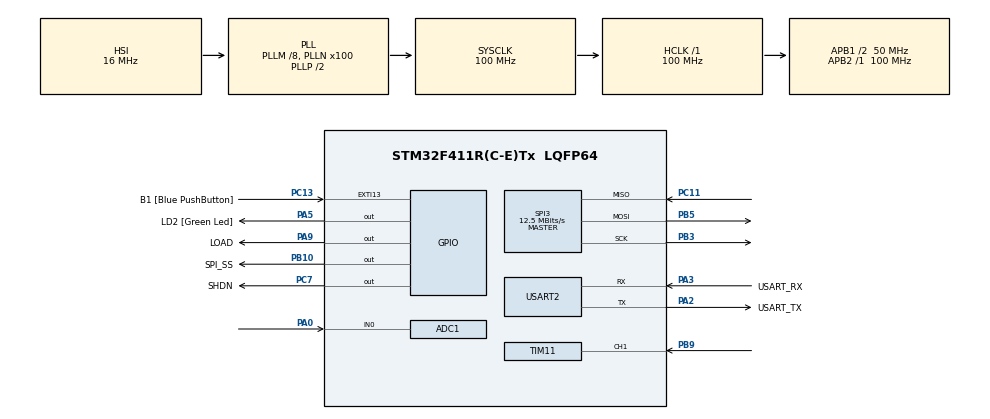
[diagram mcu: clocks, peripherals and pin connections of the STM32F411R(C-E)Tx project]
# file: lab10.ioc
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ADC1.Channel-0\#ChannelRegularConversion=ADC_CHANNEL_0
ADC1.DMAContinuousRequests=ENABLE
ADC1.ExternalTrigConv=ADC_EXTERNALTRIGCONV_T3_TRGO
ADC1.NbrOfConversionFlag=1
ADC1.Rank-0\#ChannelRegularConversion=1
ADC1.SamplingTime-0\#ChannelRegularConversion=ADC_SAMPLETIME_3CYCLES
ADC1.ScanConvMode=ENABLE
ADC1.master=1
Dma.ADC1.0.Direction=DMA_PERIPH_TO_MEMORY
Dma.ADC1.0.FIFOMode=DMA_FIFOMODE_DISABLE
Dma.ADC1.0.Instance=DMA2_Stream0
Dma.ADC1.0.MemDataAlignment=DMA_MDATAALIGN_HALFWORD
Dma.ADC1.0.MemInc=DMA_MINC_ENABLE
Dma.ADC1.0.Mode=DMA_CIRCULAR
Dma.ADC1.0.PeriphDataAlignment=DMA_PDATAALIGN_HALFWORD
Dma.ADC1.0.PeriphInc=DMA_PINC_DISABLE
Dma.ADC1.0.Priority=DMA_PRIORITY_LOW
Dma.Request0=ADC1
Mcu.Family=STM32F4
Mcu.Name=STM32F411R(C-E)Tx
Mcu.Package=LQFP64
NVIC.ADC_IRQn=true\:0\:0\:false\:false\:true\:true\:true
NVIC.DMA2_Stream0_IRQn=true\:0\:0\:false\:false\:true\:false\:true
NVIC.PriorityGroup=NVIC_PRIORITYGROUP_0
NVIC.SPI3_IRQn=true\:0\:0\:false\:false\:true\:true\:true
NVIC.TIM1_TRG_COM_TIM11_IRQn=true\:0\:0\:false\:false\:true\:true\:true
NVIC.USART2_IRQn=true\:0\:0\:false\:false\:true\:true\:true
PA0-WKUP.Signal=ADCx_IN0
PA13.GPIO_Label=TMS
PA13.Mode=Serial_Wire
PA13.Signal=SYS_JTMS-SWDIO
PA14.GPIO_Label=TCK
PA14.Mode=Serial_Wire
PA14.Signal=SYS_JTCK-SWCLK
PA2.GPIO_Label=USART_TX
PA2.Mode=Asynchronous
PA2.Signal=USART2_TX
PA3.GPIO_Label=USART_RX
PA3.Mode=Asynchronous
PA3.Signal=USART2_RX
PA5.GPIO_Label=LD2 [Green Led]
PA5.Signal=GPIO_Output
PA9.GPIO_Label=LOAD
PA9.PinState=GPIO_PIN_SET
PA9.Signal=GPIO_Output
PB10.GPIO_Label=SPI_SS
PB10.PinState=GPIO_PIN_SET
PB10.Signal=GPIO_Output
PB3.Mode=Full_Duplex_Master
PB3.Signal=SPI3_SCK
PB5.Mode=Full_Duplex_Master
PB5.Signal=SPI3_MOSI
PB9.Signal=S_TIM11_CH1
PC11.Mode=Full_Duplex_Master
PC11.Signal=SPI3_MISO
PC13-ANTI_TAMP.GPIO_Label=B1 [Blue PushButton]
PC13-ANTI_TAMP.GPIO_ModeDefaultEXTI=GPIO_MODE_IT_FALLING
PC13-ANTI_TAMP.Signal=GPXTI13
PC14-OSC32_IN.Mode=LSE-External-Oscillator
PC14-OSC32_IN.Signal=RCC_OSC32_IN
PC15-OSC32_OUT.Mode=LSE-External-Oscillator
PC15-OSC32_OUT.Signal=RCC_OSC32_OUT
PC7.GPIO_Label=SHDN
PC7.PinState=GPIO_PIN_SET
PC7.Signal=GPIO_Output
PH0\ -\ OSC_IN.Mode=HSE-External-Clock-Source
PH0\ -\ OSC_IN.Signal=RCC_OSC_IN
PH1\ -\ OSC_OUT.Mode=HSE-External-Clock-Source
PH1\ -\ OSC_OUT.Signal=RCC_OSC_OUT
ProjectManager.HeapSize=0x200
ProjectManager.StackSize=0x400
ProjectManager.TargetToolchain=STM32CubeIDE
RCC.48MHZClocksFreq_Value=50000000
RCC.AHBFreq_Value=100000000
RCC.APB1CLKDivider=RCC_HCLK_DIV2
RCC.APB1Freq_Value=50000000
RCC.APB1TimFreq_Value=100000000
RCC.APB2Freq_Value=100000000
RCC.APB2TimFreq_Value=100000000
RCC.CortexFreq_Value=100000000
RCC.FLatency-AdvancedSettings=FLASH_LATENCY_3
RCC.HCLKFreq_Value=100000000
RCC.HSE_VALUE=8000000
RCC.HSI_VALUE=16000000
RCC.PLLM=8
RCC.PLLN=100
RCC.RCC_RTC_Clock_Source=RCC_RTCCLKSOURCE_LSI
RCC.RCC_RTC_Clock_SourceVirtual=RCC_RTCCLKSOURCE_LSI
RCC.SYSCLKFreq_VALUE=100000000
RCC.SYSCLKSource=RCC_SYSCLKSOURCE_PLLCLK
RCC.VCOOutputFreq_Value=200000000
SH.ADCx_IN0.0=ADC1_IN0,IN0
SH.S_TIM11_CH1.0=TIM11_CH1,Input_Capture1_from_TI1
SPI3.BaudRatePrescaler=SPI_BAUDRATEPRESCALER_4
SPI3.CalculateBaudRate=12.5 MBits/s
SPI3.DataSize=SPI_DATASIZE_16BIT
SPI3.Direction=SPI_DIRECTION_2LINES
SPI3.Mode=SPI_MODE_MASTER
SPI3.VirtualType=VM_MASTER
TIM11.Channel=TIM_CHANNEL_1
TIM11.Prescaler=99
TIM3.Period=100
TIM3.Prescaler=99
TIM3.TIM_MasterOutputTrigger=TIM_TRGO_UPDATE
USART2.VirtualMode=VM_ASYNC
VP_TIM11_VS_ClockSourceINT.Mode=Enable_Timer
VP_TIM3_VS_ClockSourceINT.Mode=Internal
board=NUCLEO-F411RE

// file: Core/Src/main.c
/* USER CODE BEGIN Header */
/**
 ******************************************************************************
 * @file           : main.c
 * @brief          : Main program body
 ******************************************************************************
 * @attention
 *
 * <h2><center>&copy; Copyright (c) 2021 STMicroelectronics.
 * All rights reserved.</center></h2>
 *
 * This software component is licensed by ST under BSD 3-Clause license,
 * the "License"; You may not use this file except in compliance with the
 * License. You may obtain a copy of the License at:
 *                        opensource.org/licenses/BSD-3-Clause
 *
 ******************************************************************************
 */
/* USER CODE END Header */
#include "main.h"

/* USER CODE BEGIN Includes */
#include "math.h"
#include <stdio.h>
#include <string.h>
/* USER CODE END Includes */

ADC_HandleTypeDef hadc1;
DMA_HandleTypeDef hdma_adc1;

SPI_HandleTypeDef hspi3;

TIM_HandleTypeDef htim3;
TIM_HandleTypeDef htim11;

UART_HandleTypeDef huart2;

/* USER CODE BEGIN PV */
uint16_t ADCin = 0;
uint64_t _micro = 0;
float dataOut = 0;
float step=0;
uint64_t ts_square=0;uint64_t ts_saw=0;float high_saw=3.3;float low_saw=0;
float fq=1;float period =0;float m=0;float high=3.3;float low=0;float fq_saw=1;
uint8_t DACConfig = 0b0011;float high_sin=3.3;float low_sin=0;float fq_sin=1;
float y=0;float fq_sq=1;float high_sq=3.3;float low_sq=0;
float x=0;uint64_t ts_sin=0;uint64_t ts_sq=0;
uint8_t dutycycle=50;float t_on=0;float t_off=0;
char TxDataBuffer[32] ={ 0 };
char RxDataBuffer[32] ={ 0 };
uint16_t state=0;uint16_t statesaw=0;uint16_t statesin=0;uint16_t statesq=0;
enum{start=0,menu,waitmenu,on,off,square_menu,waitsquare,saw_menu,waitsaw,sin_menu,waitsin,X1,slopeup,slopedown,sine,square};
/* USER CODE END PV */

void SystemClock_Config(void);
static void MX_GPIO_Init(void);
static void MX_DMA_Init(void);
static void MX_USART2_UART_Init(void);
static void MX_SPI3_Init(void);
static void MX_ADC1_Init(void);
static void MX_TIM3_Init(void);
static void MX_TIM11_Init(void);
/* USER CODE BEGIN PFP */
void MCP4922SetOutput(uint8_t Config, uint16_t DACOutput);
uint64_t micros();
int16_t UARTRecieveIT();
/* USER CODE END PFP */

int main(void)
{

  /* MCU Configuration--------------------------------------------------------*/

  /* Reset of all peripherals, Initializes the Flash interface and the Systick. */
  HAL_Init();

  /* Configure the system clock */
  SystemClock_Config();

  /* Initialize all configured peripherals */
  MX_GPIO_Init();
  MX_DMA_Init();
  MX_USART2_UART_Init();
  MX_SPI3_Init();
  MX_ADC1_Init();
  MX_TIM3_Init();
  MX_TIM11_Init();
  /* USER CODE BEGIN 2 */
	HAL_TIM_Base_Start(&htim3);
	HAL_TIM_Base_Start_IT(&htim11);
	HAL_ADC_Start_DMA(&hadc1, (uint32_t*) &ADCin, 1);

	HAL_GPIO_WritePin(LOAD_GPIO_Port, LOAD_Pin, GPIO_PIN_RESET);

  /* USER CODE END 2 */

  /* Infinite loop */
  /* USER CODE BEGIN WHILE */
	while (1)
	{
		static uint64_t timestamp = 0;

//			if (micros() - timestamp > 100)
//			{timestamp = micros();
//			x+=0.0001;
//			dataOut =  (1.65*(sin(2*3.141592*fq*x)))+1.65;  //sin wave +shift 3.3/0
//          }

//			dutycycle=20;									//square wave
//			period = 1/fq;
//			t_off = dutycycle*period/100;
//			t_on = period-t_off;
//			switch(state)
//			{ 	case 0:
//
//				state = on;
//			break;
//			case on:
//				if(micros()-ts_square>=t_on*1000000)
//							{ dataOut=3.3;
//							ts_square=micros();
//							state = off;}
//			break;
//			case off:
//				if(micros()-ts_square>=t_off*1000000)
//							{   ts_square=micros();
//								dataOut=0;
//							    state = on;}
//			break;
//			}

//			if (micros() - timestamp > 100)
//			{timestamp = micros();
//			period = 1/fq;                    //sawtooth
//			x+=0.0001;
//		    m=(high-low)/period;
//		    if(m*x<=high)
//		    {dataOut=m*x;}
//		    else{dataOut=low;x=0;}
//		    }

//		if (micros() - timestamp > 100)
//		    {timestamp = micros();
//			period=1/fq; 							//invese sawtooth
//			x+=0.0001;
//			m=-1*(high-low)/period;
//            if(dataOut<=low){dataOut=high;x=0;}
//            else{dataOut=high+(m*x);}
//		    }
			HAL_UART_Receive_IT(&huart2,  (uint8_t*)RxDataBuffer, 32);
			int16_t inputchar = UARTRecieveIT();

			switch(state)
			{case start :
			  state = menu;
			break;
			case menu:
			  sprintf(TxDataBuffer,"\r\n WAVE select \r\n 0=sawtooth ");
			  HAL_UART_Transmit(&huart2, (uint8_t*)TxDataBuffer, strlen(TxDataBuffer), 1000);
			  sprintf(TxDataBuffer,"\r\n 1=sine wave \r\n 2=square wave\r\n");
			  HAL_UART_Transmit(&huart2, (uint8_t*)TxDataBuffer, strlen(TxDataBuffer), 1000);
			  state = waitmenu;
			 break;
			case waitmenu:
				if(inputchar!=-1)
				{if(inputchar=='0')
				{state = saw_menu;}
				else if(inputchar=='1')
				 {state = sin_menu;}
				else if(inputchar=='2')
				 {state = square_menu;}
				else if (inputchar!='0'|inputchar!='1'|inputchar!='2' )
				{state =X1;}
				}
			break;
			case X1:
				sprintf(TxDataBuffer,"\r\n error\r\n");
				HAL_UART_Transmit(&huart2, (uint8_t*)TxDataBuffer, strlen(TxDataBuffer), 1000);
				state=waitmenu;
			break;
			case saw_menu:
				sprintf(TxDataBuffer,"\r\n SAWTOOTH \r\n ");HAL_UART_Transmit(&huart2, (uint8_t*)TxDataBuffer, strlen(TxDataBuffer), 1000);
				sprintf(TxDataBuffer,"\r\n a=+0.1hz\r\n s=-0.1hz");HAL_UART_Transmit(&huart2, (uint8_t*)TxDataBuffer, strlen(TxDataBuffer), 1000);
				sprintf(TxDataBuffer,"\r\n d=+0.1V high \r\n f=-0.1V high \r\n");HAL_UART_Transmit(&huart2, (uint8_t*)TxDataBuffer, strlen(TxDataBuffer), 1000);
				sprintf(TxDataBuffer,"\r\n q=+0.1V low \r\n w=-0.1V low \r\n");HAL_UART_Transmit(&huart2, (uint8_t*)TxDataBuffer, strlen(TxDataBuffer), 1000);
				sprintf(TxDataBuffer,"\r\n e=slope up \r\n r=slope down \r\n");HAL_UART_Transmit(&huart2, (uint8_t*)TxDataBuffer, strlen(TxDataBuffer), 1000);
				sprintf(TxDataBuffer,"\r\n x=back \r\n");HAL_UART_Transmit(&huart2, (uint8_t*)TxDataBuffer, strlen(TxDataBuffer), 1000);
				state=waitsaw;
			break;
			case waitsaw:
				if(inputchar!=-1)
				{if(inputchar=='a')
				 {fq_saw+=0.1;sprintf(TxDataBuffer,"\r\n frequency = [%f]\r\n",fq_saw);HAL_UART_Transmit(&huart2, (uint8_t*)TxDataBuffer, strlen(TxDataBuffer), 1000);}
				else if(inputchar=='s')
				 {fq_saw-=0.1;sprintf(TxDataBuffer,"\r\n frequency = [%f]\r\n",fq_saw);HAL_UART_Transmit(&huart2, (uint8_t*)TxDataBuffer, strlen(TxDataBuffer), 1000);}
				else if(inputchar=='d')
				 {high_saw+=0.1;sprintf(TxDataBuffer,"\r\n Vhigh = [%f]\r\n",high_saw);HAL_UART_Transmit(&huart2, (uint8_t*)TxDataBuffer, strlen(TxDataBuffer), 1000);}
				else if (inputchar=='f')
				{high_saw-=0.1;sprintf(TxDataBuffer,"\r\n Vhigh = [%f]\r\n",high_saw);HAL_UART_Transmit(&huart2, (uint8_t*)TxDataBuffer, strlen(TxDataBuffer), 1000);}
				else if(inputchar=='q')
			    {low_saw+=0.1;sprintf(TxDataBuffer,"\r\n Vlow = [%f]\r\n",low_saw);HAL_UART_Transmit(&huart2, (uint8_t*)TxDataBuffer, strlen(TxDataBuffer), 1000);}
				else if(inputchar=='w')
				{low_saw-=0.1;sprintf(TxDataBuffer,"\r\n Vlow = [%f]\r\n",low_saw);HAL_UART_Transmit(&huart2, (uint8_t*)TxDataBuffer, strlen(TxDataBuffer), 1000);}
				else if(inputchar=='e')
				{   statesin=0;statesq=0;statesaw=slopeup;}
				else if(inputchar=='r')
				{statesin=0;statesq=0;statesaw=slopedown;}
				else if(inputchar=='x')
				{state=menu;}
				}
			break;
			case sin_menu:
				sprintf(TxDataBuffer,"\r\n SINE WAVE \r\n ");
				HAL_UART_Transmit(&huart2, (uint8_t*)TxDataBuffer, strlen(TxDataBuffer), 1000);
				sprintf(TxDataBuffer,"\r\n a=+0.1hz\r\n s=-0.1hz");HAL_UART_Transmit(&huart2, (uint8_t*)TxDataBuffer, strlen(TxDataBuffer), 1000);
				sprintf(TxDataBuffer,"\r\n d=+0.1V high \r\n f=-0.1V high \r\n");HAL_UART_Transmit(&huart2, (uint8_t*)TxDataBuffer, strlen(TxDataBuffer), 1000);
				sprintf(TxDataBuffer,"\r\n q=+0.1V low \r\n w=-0.1V low \r\n");HAL_UART_Transmit(&huart2, (uint8_t*)TxDataBuffer, strlen(TxDataBuffer), 1000);
				sprintf(TxDataBuffer,"\r\n x=back \r\n e=run \r\n");HAL_UART_Transmit(&huart2, (uint8_t*)TxDataBuffer, strlen(TxDataBuffer), 1000);
				state=waitsin;

			break;
			case waitsin:
				if(inputchar!=-1)
				{if(inputchar=='a')
				 {fq_sin+=0.1;sprintf(TxDataBuffer,"\r\n frequency = [%f]\r\n",fq_sin);HAL_UART_Transmit(&huart2, (uint8_t*)TxDataBuffer, strlen(TxDataBuffer), 1000);}
				else if(inputchar=='s')
				 {fq_sin-=0.1;sprintf(TxDataBuffer,"\r\n frequency = [%f]\r\n",fq_sin);HAL_UART_Transmit(&huart2, (uint8_t*)TxDataBuffer, strlen(TxDataBuffer), 1000);}
				else if(inputchar=='d')
				 {high_sin+=0.1;sprintf(TxDataBuffer,"\r\n Vhigh = [%f]\r\n",high_sin);HAL_UART_Transmit(&huart2, (uint8_t*)TxDataBuffer, strlen(TxDataBuffer), 1000);}
				else if (inputchar=='f')
				{high_sin-=0.1;sprintf(TxDataBuffer,"\r\n Vhigh = [%f]\r\n",high_sin);HAL_UART_Transmit(&huart2, (uint8_t*)TxDataBuffer, strlen(TxDataBuffer), 1000);}
				else if(inputchar=='q')
				{low_sin+=0.1;sprintf(TxDataBuffer,"\r\n Vlow = [%f]\r\n",low_sin);HAL_UART_Transmit(&huart2, (uint8_t*)TxDataBuffer, strlen(TxDataBuffer), 1000);}
				else if(inputchar=='w')
				{low_sin-=0.1;sprintf(TxDataBuffer,"\r\n Vlow = [%f]\r\n",low_sin);HAL_UART_Transmit(&huart2, (uint8_t*)TxDataBuffer, strlen(TxDataBuffer), 1000);}
				else if(inputchar=='e')
				{statesq=0;statesaw=0;
					statesin=sine;}
				else if(inputchar=='x')
				{state=menu;}
				}

			break;
			case square_menu:
				sprintf(TxDataBuffer,"\r\n SQUARE WAVE \r\n ");
				HAL_UART_Transmit(&huart2, (uint8_t*)TxDataBuffer, strlen(TxDataBuffer), 1000);
				sprintf(TxDataBuffer,"\r\n a=+0.1hz\r\n s=-0.1hz");HAL_UART_Transmit(&huart2, (uint8_t*)TxDataBuffer, strlen(TxDataBuffer), 1000);
				sprintf(TxDataBuffer,"\r\n d=+0.1V high \r\n f=-0.1Vhigh \r\n");HAL_UART_Transmit(&huart2, (uint8_t*)TxDataBuffer, strlen(TxDataBuffer), 1000);
				sprintf(TxDataBuffer,"\r\n q=+0.1V low \r\n w=-0.1Vlow \r\n");HAL_UART_Transmit(&huart2, (uint8_t*)TxDataBuffer, strlen(TxDataBuffer), 1000);
				sprintf(TxDataBuffer,"\r\n x=back \r\n e=run \r\n");HAL_UART_Transmit(&huart2, (uint8_t*)TxDataBuffer, strlen(TxDataBuffer), 1000);
				sprintf(TxDataBuffer,"\r\n t=+1%% dutycycle \r\n y=-1%% dutycycle \r\n");HAL_UART_Transmit(&huart2, (uint8_t*)TxDataBuffer, strlen(TxDataBuffer), 1000);
				state=waitsquare;

			break;
			case waitsquare:
				if(inputchar!=-1)
				{if(inputchar=='a')
				 {fq_sq+=0.1;sprintf(TxDataBuffer,"\r\n frequency = [%f]\r\n",(float)fq_sq);HAL_UART_Transmit(&huart2, (uint8_t*)TxDataBuffer, strlen(TxDataBuffer), 1000);}
				else if(inputchar=='s')
				 {fq_sq-=0.1;sprintf(TxDataBuffer,"\r\n frequency = [%f]\r\n",(float)fq_sq);HAL_UART_Transmit(&huart2, (uint8_t*)TxDataBuffer, strlen(TxDataBuffer), 1000);}
				else if(inputchar=='d')
				 {high_sq+=0.1;sprintf(TxDataBuffer,"\r\n Vhigh = [%f]\r\n",(float)high_sq);HAL_UART_Transmit(&huart2, (uint8_t*)TxDataBuffer, strlen(TxDataBuffer), 1000);}
				else if (inputchar=='f')
				{high_sq-=0.1;sprintf(TxDataBuffer,"\r\n Vhigh = [%f]\r\n",(float)high_sq);HAL_UART_Transmit(&huart2, (uint8_t*)TxDataBuffer, strlen(TxDataBuffer), 1000);}
				else if(inputchar=='q')
				{low_sq+=0.1;sprintf(TxDataBuffer,"\r\n Vlow = [%f]\r\n",(float)low_sq);HAL_UART_Transmit(&huart2, (uint8_t*)TxDataBuffer, strlen(TxDataBuffer), 1000);}
				else if(inputchar=='w')
				{low_sq-=0.1;sprintf(TxDataBuffer,"\r\n Vlow = [%f]\r\n",(float)low_sq);HAL_UART_Transmit(&huart2, (uint8_t*)TxDataBuffer, strlen(TxDataBuffer), 1000);}
				else if(inputchar=='t')
			    {dutycycle+=1;sprintf(TxDataBuffer,"\r\n dutycycle = [%u]\r\n",dutycycle);HAL_UART_Transmit(&huart2, (uint8_t*)TxDataBuffer, strlen(TxDataBuffer), 1000);}
				else if(inputchar=='y')
				{dutycycle-=1;sprintf(TxDataBuffer,"\r\n dutycycle = [%u]\r\n",dutycycle);HAL_UART_Transmit(&huart2, (uint8_t*)TxDataBuffer, strlen(TxDataBuffer), 1000);}
				else if(inputchar=='x')
				{state=menu;}
				else if(inputchar=='e')
				{statesin=0;statesaw=0;
					statesq=square;}
				}
			break;
			}
			switch(statesaw)
			{case slopeup:
				if (micros() - timestamp > 100)
				{timestamp = micros();
				period=1/fq_saw; 							// sawtooth
				x+=0.0001;
				m=(high_saw-low_saw)/period;
				if(dataOut>=high_saw){dataOut=low_saw;x=0;}
				else{dataOut=low_saw+(m*x);}
				if (hspi3.State == HAL_SPI_STATE_READY&& HAL_GPIO_ReadPin(SPI_SS_GPIO_Port, SPI_SS_Pin)== GPIO_PIN_SET)
				{MCP4922SetOutput(DACConfig, dataOut*4096/3.3);}
				}
		     break;
			case slopedown:
				if (micros() - timestamp > 100)
					{timestamp = micros();
					period=1/fq_saw; 							//invese sawtooth
					x+=0.0001;
					m=-1*(high_saw-low_saw)/period;
					if(dataOut<=low_saw){dataOut=high_saw;x=0;}
					else{dataOut=high_saw+(m*x);}
					if (hspi3.State == HAL_SPI_STATE_READY&& HAL_GPIO_ReadPin(SPI_SS_GPIO_Port, SPI_SS_Pin)== GPIO_PIN_SET)
					{MCP4922SetOutput(DACConfig, dataOut*4096/3.3);}
					}
			 break;
			}

			switch(statesin)
			{case sine:
				if (micros() - ts_sin > 100)
				{ts_sin = micros();
				x+=0.0001;
				dataOut =  (((high_sin-low_sin)/2)*(sin(2*3.141592*fq_sin*x)))+((high_sin+low_sin)/2);  //sin wave +shift 3.3/0
				if (hspi3.State == HAL_SPI_STATE_READY&& HAL_GPIO_ReadPin(SPI_SS_GPIO_Port, SPI_SS_Pin)== GPIO_PIN_SET)
				{MCP4922SetOutput(DACConfig, dataOut*4096/3.3);}
				}
			break;
			}

			switch(statesq)
			{case square:
			period = 1/fq;
			t_off = dutycycle*period/100;
			t_on = period-t_off;
			statesq=on;
			break;
			case on:
				if(micros()-ts_square>=t_on*1000000)
				{ dataOut=high_sq;
				ts_square=micros();
				if (hspi3.State == HAL_SPI_STATE_READY&& HAL_GPIO_ReadPin(SPI_SS_GPIO_Port, SPI_SS_Pin)== GPIO_PIN_SET)
				{MCP4922SetOutput(DACConfig, dataOut*4096/3.3);}
				statesq = off;}
			break;
			case off:
				if(micros()-ts_square>=t_off*1000000)
				{   ts_square=micros();
					dataOut=low_sq;
					if (hspi3.State == HAL_SPI_STATE_READY&& HAL_GPIO_ReadPin(SPI_SS_GPIO_Port, SPI_SS_Pin)== GPIO_PIN_SET)
					{MCP4922SetOutput(DACConfig, dataOut*4096/3.3);}
					statesq = on;}
			break;
			}

    /* USER CODE END WHILE */

	}
}

void SystemClock_Config(void)
{
  RCC_OscInitTypeDef RCC_OscInitStruct = {0};
  RCC_ClkInitTypeDef RCC_ClkInitStruct = {0};
  RCC_PeriphCLKInitTypeDef PeriphClkInitStruct = {0};

  /** Configure the main internal regulator output voltage
  */
  __HAL_RCC_PWR_CLK_ENABLE();
  __HAL_PWR_VOLTAGESCALING_CONFIG(PWR_REGULATOR_VOLTAGE_SCALE1);
  /** Initializes the RCC Oscillators according to the specified parameters
  * in the RCC_OscInitTypeDef structure.
  */
  RCC_OscInitStruct.OscillatorType = RCC_OSCILLATORTYPE_HSI|RCC_OSCILLATORTYPE_HSE;
  RCC_OscInitStruct.HSEState = RCC_HSE_BYPASS;
  RCC_OscInitStruct.HSIState = RCC_HSI_ON;
  RCC_OscInitStruct.HSICalibrationValue = RCC_HSICALIBRATION_DEFAULT;
  RCC_OscInitStruct.PLL.PLLState = RCC_PLL_ON;
  RCC_OscInitStruct.PLL.PLLSource = RCC_PLLSOURCE_HSI;
  RCC_OscInitStruct.PLL.PLLM = 8;
  RCC_OscInitStruct.PLL.PLLN = 100;
  RCC_OscInitStruct.PLL.PLLP = RCC_PLLP_DIV2;
  RCC_OscInitStruct.PLL.PLLQ = 4;
  if (HAL_RCC_OscConfig(&RCC_OscInitStruct) != HAL_OK)
  {
    Error_Handler();
  }
  /** Initializes the CPU, AHB and APB buses clocks
  */
  RCC_ClkInitStruct.ClockType = RCC_CLOCKTYPE_HCLK|RCC_CLOCKTYPE_SYSCLK
                              |RCC_CLOCKTYPE_PCLK1|RCC_CLOCKTYPE_PCLK2;
  RCC_ClkInitStruct.SYSCLKSource = RCC_SYSCLKSOURCE_PLLCLK;
  RCC_ClkInitStruct.AHBCLKDivider = RCC_SYSCLK_DIV1;
  RCC_ClkInitStruct.APB1CLKDivider = RCC_HCLK_DIV2;
  RCC_ClkInitStruct.APB2CLKDivider = RCC_HCLK_DIV1;

  if (HAL_RCC_ClockConfig(&RCC_ClkInitStruct, FLASH_LATENCY_3) != HAL_OK)
  {
    Error_Handler();
  }
  PeriphClkInitStruct.PeriphClockSelection = RCC_PERIPHCLK_RTC;
  PeriphClkInitStruct.RTCClockSelection = RCC_RTCCLKSOURCE_LSI;
  if (HAL_RCCEx_PeriphCLKConfig(&PeriphClkInitStruct) != HAL_OK)
  {
    Error_Handler();
  }
}

static void MX_ADC1_Init(void)
{

  ADC_ChannelConfTypeDef sConfig = {0};

  /** Configure the global features of the ADC (Clock, Resolution, Data Alignment and number of conversion)
  */
  hadc1.Instance = ADC1;
  hadc1.Init.ClockPrescaler = ADC_CLOCK_SYNC_PCLK_DIV4;
  hadc1.Init.Resolution = ADC_RESOLUTION_12B;
  hadc1.Init.ScanConvMode = ENABLE;
  hadc1.Init.ContinuousConvMode = DISABLE;
  hadc1.Init.DiscontinuousConvMode = DISABLE;
  hadc1.Init.ExternalTrigConvEdge = ADC_EXTERNALTRIGCONVEDGE_RISING;
  hadc1.Init.ExternalTrigConv = ADC_EXTERNALTRIGCONV_T3_TRGO;
  hadc1.Init.DataAlign = ADC_DATAALIGN_RIGHT;
  hadc1.Init.NbrOfConversion = 1;
  hadc1.Init.DMAContinuousRequests = ENABLE;
  hadc1.Init.EOCSelection = ADC_EOC_SINGLE_CONV;
  if (HAL_ADC_Init(&hadc1) != HAL_OK)
  {
    Error_Handler();
  }
  /** Configure for the selected ADC regular channel its corresponding rank in the sequencer and its sample time.
  */
  sConfig.Channel = ADC_CHANNEL_0;
  sConfig.Rank = 1;
  sConfig.SamplingTime = ADC_SAMPLETIME_3CYCLES;
  if (HAL_ADC_ConfigChannel(&hadc1, &sConfig) != HAL_OK)
  {
    Error_Handler();
  }

}

static void MX_SPI3_Init(void)
{

  /* SPI3 parameter configuration*/
  hspi3.Instance = SPI3;
  hspi3.Init.Mode = SPI_MODE_MASTER;
  hspi3.Init.Direction = SPI_DIRECTION_2LINES;
  hspi3.Init.DataSize = SPI_DATASIZE_16BIT;
  hspi3.Init.CLKPolarity = SPI_POLARITY_LOW;
  hspi3.Init.CLKPhase = SPI_PHASE_1EDGE;
  hspi3.Init.NSS = SPI_NSS_SOFT;
  hspi3.Init.BaudRatePrescaler = SPI_BAUDRATEPRESCALER_4;
  hspi3.Init.FirstBit = SPI_FIRSTBIT_MSB;
  hspi3.Init.TIMode = SPI_TIMODE_DISABLE;
  hspi3.Init.CRCCalculation = SPI_CRCCALCULATION_DISABLE;
  hspi3.Init.CRCPolynomial = 10;
  if (HAL_SPI_Init(&hspi3) != HAL_OK)
  {
    Error_Handler();
  }

}

static void MX_TIM3_Init(void)
{

  TIM_ClockConfigTypeDef sClockSourceConfig = {0};
  TIM_MasterConfigTypeDef sMasterConfig = {0};

  htim3.Instance = TIM3;
  htim3.Init.Prescaler = 99;
  htim3.Init.CounterMode = TIM_COUNTERMODE_UP;
  htim3.Init.Period = 100;
  htim3.Init.ClockDivision = TIM_CLOCKDIVISION_DIV1;
  htim3.Init.AutoReloadPreload = TIM_AUTORELOAD_PRELOAD_DISABLE;
  if (HAL_TIM_Base_Init(&htim3) != HAL_OK)
  {
    Error_Handler();
  }
  sClockSourceConfig.ClockSource = TIM_CLOCKSOURCE_INTERNAL;
  if (HAL_TIM_ConfigClockSource(&htim3, &sClockSourceConfig) != HAL_OK)
  {
    Error_Handler();
  }
  sMasterConfig.MasterOutputTrigger = TIM_TRGO_UPDATE;
  sMasterConfig.MasterSlaveMode = TIM_MASTERSLAVEMODE_DISABLE;
  if (HAL_TIMEx_MasterConfigSynchronization(&htim3, &sMasterConfig) != HAL_OK)
  {
    Error_Handler();
  }

}

static void MX_TIM11_Init(void)
{

  TIM_IC_InitTypeDef sConfigIC = {0};

  htim11.Instance = TIM11;
  htim11.Init.Prescaler = 99;
  htim11.Init.CounterMode = TIM_COUNTERMODE_UP;
  htim11.Init.Period = 65535;
  htim11.Init.ClockDivision = TIM_CLOCKDIVISION_DIV1;
  htim11.Init.AutoReloadPreload = TIM_AUTORELOAD_PRELOAD_DISABLE;
  if (HAL_TIM_Base_Init(&htim11) != HAL_OK)
  {
    Error_Handler();
  }
  if (HAL_TIM_IC_Init(&htim11) != HAL_OK)
  {
    Error_Handler();
  }
  sConfigIC.ICPolarity = TIM_INPUTCHANNELPOLARITY_RISING;
  sConfigIC.ICSelection = TIM_ICSELECTION_DIRECTTI;
  sConfigIC.ICPrescaler = TIM_ICPSC_DIV1;
  sConfigIC.ICFilter = 0;
  if (HAL_TIM_IC_ConfigChannel(&htim11, &sConfigIC, TIM_CHANNEL_1) != HAL_OK)
  {
    Error_Handler();
  }

}

static void MX_USART2_UART_Init(void)
{

  huart2.Instance = USART2;
  huart2.Init.BaudRate = 115200;
  huart2.Init.WordLength = UART_WORDLENGTH_8B;
  huart2.Init.StopBits = UART_STOPBITS_1;
  huart2.Init.Parity = UART_PARITY_NONE;
  huart2.Init.Mode = UART_MODE_TX_RX;
  huart2.Init.HwFlowCtl = UART_HWCONTROL_NONE;
  huart2.Init.OverSampling = UART_OVERSAMPLING_16;
  if (HAL_UART_Init(&huart2) != HAL_OK)
  {
    Error_Handler();
  }

}

static void MX_DMA_Init(void)
{

  /* DMA controller clock enable */
  __HAL_RCC_DMA2_CLK_ENABLE();

  /* DMA interrupt init */
  /* DMA2_Stream0_IRQn interrupt configuration */
  HAL_NVIC_SetPriority(DMA2_Stream0_IRQn, 0, 0);
  HAL_NVIC_EnableIRQ(DMA2_Stream0_IRQn);

}

static void MX_GPIO_Init(void)
{
  GPIO_InitTypeDef GPIO_InitStruct = {0};

  /* GPIO Ports Clock Enable */
  __HAL_RCC_GPIOC_CLK_ENABLE();
  __HAL_RCC_GPIOH_CLK_ENABLE();
  __HAL_RCC_GPIOA_CLK_ENABLE();
  __HAL_RCC_GPIOB_CLK_ENABLE();

  /*Configure GPIO pin Output Level */
  HAL_GPIO_WritePin(LD2_GPIO_Port, LD2_Pin, GPIO_PIN_RESET);

  /*Configure GPIO pin Output Level */
  HAL_GPIO_WritePin(SPI_SS_GPIO_Port, SPI_SS_Pin, GPIO_PIN_SET);

  /*Configure GPIO pin Output Level */
  HAL_GPIO_WritePin(SHDN_GPIO_Port, SHDN_Pin, GPIO_PIN_SET);

  /*Configure GPIO pin Output Level */
  HAL_GPIO_WritePin(LOAD_GPIO_Port, LOAD_Pin, GPIO_PIN_SET);

  /*Configure GPIO pin : B1_Pin */
  GPIO_InitStruct.Pin = B1_Pin;
  GPIO_InitStruct.Mode = GPIO_MODE_IT_FALLING;
  GPIO_InitStruct.Pull = GPIO_NOPULL;
  HAL_GPIO_Init(B1_GPIO_Port, &GPIO_InitStruct);

  /*Configure GPIO pins : LD2_Pin LOAD_Pin */
  GPIO_InitStruct.Pin = LD2_Pin|LOAD_Pin;
  GPIO_InitStruct.Mode = GPIO_MODE_OUTPUT_PP;
  GPIO_InitStruct.Pull = GPIO_NOPULL;
  GPIO_InitStruct.Speed = GPIO_SPEED_FREQ_LOW;
  HAL_GPIO_Init(GPIOA, &GPIO_InitStruct);

  /*Configure GPIO pin : SPI_SS_Pin */
  GPIO_InitStruct.Pin = SPI_SS_Pin;
  GPIO_InitStruct.Mode = GPIO_MODE_OUTPUT_PP;
  GPIO_InitStruct.Pull = GPIO_NOPULL;
  GPIO_InitStruct.Speed = GPIO_SPEED_FREQ_LOW;
  HAL_GPIO_Init(SPI_SS_GPIO_Port, &GPIO_InitStruct);

  /*Configure GPIO pin : SHDN_Pin */
  GPIO_InitStruct.Pin = SHDN_Pin;
  GPIO_InitStruct.Mode = GPIO_MODE_OUTPUT_PP;
  GPIO_InitStruct.Pull = GPIO_NOPULL;
  GPIO_InitStruct.Speed = GPIO_SPEED_FREQ_LOW;
  HAL_GPIO_Init(SHDN_GPIO_Port, &GPIO_InitStruct);

}

/* USER CODE BEGIN 4 */
void MCP4922SetOutput(uint8_t Config, uint16_t DACOutput)
{
	uint32_t OutputPacket = (DACOutput & 0x0fff) | ((Config & 0xf) << 12);
	HAL_GPIO_WritePin(SPI_SS_GPIO_Port, SPI_SS_Pin, GPIO_PIN_RESET);
	HAL_SPI_Transmit_IT(&hspi3, &OutputPacket, 1);
}
int16_t UARTRecieveIT()
{
	static uint32_t dataPos =0;
	int16_t data=-1;

	if(huart2.RxXferSize - huart2.RxXferCount!=dataPos)
	{
		data=RxDataBuffer[dataPos];
		dataPos= (dataPos+1)%huart2.RxXferSize;
	}
	return data;
}

void HAL_SPI_TxCpltCallback(SPI_HandleTypeDef *hspi)
{
	if (hspi == &hspi3)
	{
		HAL_GPIO_WritePin(SPI_SS_GPIO_Port, SPI_SS_Pin, GPIO_PIN_SET);
	}
}

void HAL_TIM_PeriodElapsedCallback(TIM_HandleTypeDef *htim)
{
	if (htim == &htim11)
	{
		_micro += 65535;
	}
}
void HAL_UART_RxCpltCallback(UART_HandleTypeDef *huart)
{
	sprintf(TxDataBuffer, "Received:[%s]\r\n", RxDataBuffer);
	//HAL_UART_Transmit(&huart2, (uint8_t*)TxDataBuffer, strlen(TxDataBuffer), 1000);
}

inline uint64_t micros()
{
	return htim11.Instance->CNT + _micro;
}
/* USER CODE END 4 */

void Error_Handler(void)
{
	__disable_irq();
	while (1)
	{
	}
}

/************************ (C) COPYRIGHT STMicroelectronics *****END OF FILE****/
